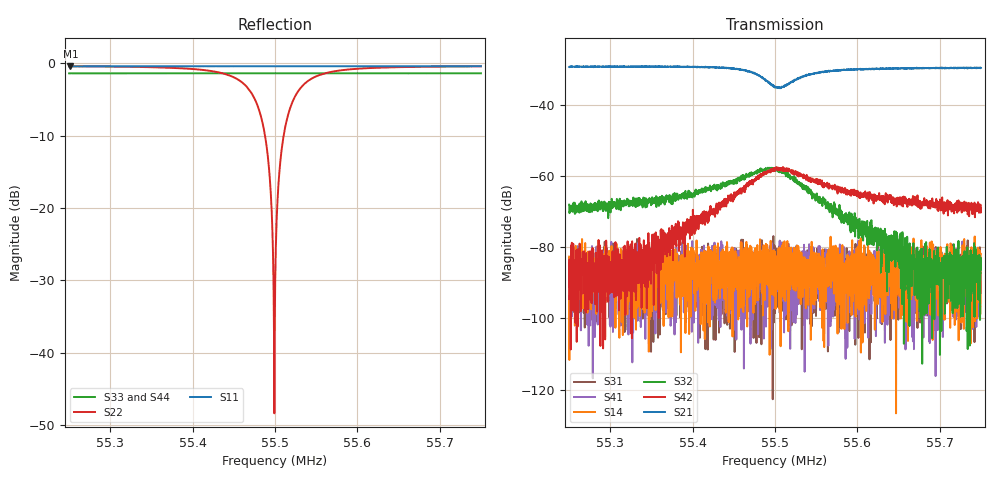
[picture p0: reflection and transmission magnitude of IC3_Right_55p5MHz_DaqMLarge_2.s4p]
#  HZ  S  DB  R  50.00
! Rohde & Schwarz Vector Network Analyzer
! Rohde-Schwarz,ZNB8-4Port,1311601044102961,2.82
! Created: UTC 2/12/2019, 2:17:25 PM
! freq[Hz]  db:S11  ang:S11  db:S12  ang:S12  db:S13  ang:S13  db:S14  ang:S14
!  db:S21  ang:S21  db:S22  ang:S22  db:S23  ang:S23  db:S24  ang:S24
!  db:S31  ang:S31  db:S32  ang:S32  db:S33  ang:S33  db:S34  ang:S34
!  db:S41  ang:S41  db:S42  ang:S42  db:S43  ang:S43  db:S44  ang:S44
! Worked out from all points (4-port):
!   2001 points, 55.25 MHz to 55.75 MHz, reference 50 ohm
!   strongest paths, dB at 55.25 MHz, 55.375 MHz, 55.5 MHz, 55.625 MHz, 55.75 MHz:
!     S21: -29.2, -29.1, -34.9, -29.8, -29.5
!     S42: -94.6, -80.1, -58.4, -66.1, -69.0
!     S32: -68.0, -65.7, -58.0, -78.1, -86.2
!     S14: -82.6, -84.1, -89.7, -83.9, -81.8
!     S41: -85.9, -90.8, -90.7, -87.0, -85.9
!     S31: -83.1, -91.7, -83.3, -79.8, -87.3
!   lowest |S11| = -0.4 dB at 55.2515 MHz (marker M1), VSWR 38.99, Z = 2.08 + j39.3 ohm
!   |S11| at or under -10 dB: nowhere
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5.525e7  -0.44 103.6  -29.11 87.7  -87.36 69.9  -82.60 46.9
         -29.20 88.3  -0.41 -107.7  -69.12 -134.9  -86.20 -53.6
         -83.12 -166.8  -67.96 -127.0  -1.40 31.7  -87.29 -49.4
         -85.90 167.7  -94.56 137.9  -89.87 -43.7  -1.42 38.2
5.52515e7  -0.45 103.6  -29.19 87.6  -85.93 -95.6  -86.61 44.4
           -29.12 87.9  -0.41 -107.8  -70.12 -123.3  -80.70 163.5
           -92.84 -174.9  -69.06 -125.6  -1.40 31.7  -96.48 -68.1
           -92.80 -64.3  -87.36 -88.1  -90.05 175.9  -1.42 38.2
5.546475e7  -0.43 99.6  -30.22 63.7  -86.33 -172.9  -89.63 -166.6
            -30.23 63.8  -3.15 -155.6  -59.81 -173.1  -62.62 1.1
            -87.82 -91.7  -59.47 -173.2  -1.39 29.1  -85.76 3.6
            -93.20 -153.6  -62.92 7.1  -85.54 -47.5  -1.41 35.6
5.549925e7  -0.42 99.0  -34.56 68.0  -81.83 -61.3  -86.91 -152.4
            -34.73 68.1  -48.38 -96.6  -56.75 145.1  -57.79 -45.2
            -84.88 91.1  -58.08 140.8  -1.39 28.7  -85.50 -159.8
            -89.86 -128.6  -58.07 -45.6  -80.78 -150.4  -1.41 35.1
5.55095e7  -0.42 98.8  -34.81 84.8  -93.63 -72.9  -86.28 47.8
           -34.81 83.3  -10.73 -42.9  -58.89 123.0  -58.19 -61.2
           -93.31 112.1  -58.88 123.9  -1.39 28.6  -100.83 33.9
           -92.42 32.5  -57.42 -61.3  -91.78 164.6  -1.41 35.0
5.553375e7  -0.42 98.4  -32.05 95.0  -105.85 -4.5  -93.94 55.4
            -31.96 95.4  -3.07 -73.3  -62.36 97.2  -60.80 -90.5
            -86.25 61.4  -62.74 95.2  -1.39 28.2  -98.73 117.7
            -83.99 -48.1  -59.87 -90.2  -87.60 129.4  -1.40 34.7
5.575e7  -0.41 94.5  -29.49 76.5  -92.13 -163.2  -81.81 23.4
         -29.49 76.3  -0.43 -121.8  -80.93 -151.9  -70.25 -128.4
         -87.26 -121.8  -86.21 -131.2  -1.39 25.6  -85.54 81.0
         -85.91 -12.0  -68.98 -136.7  -94.17 15.1  -1.40 32.1
